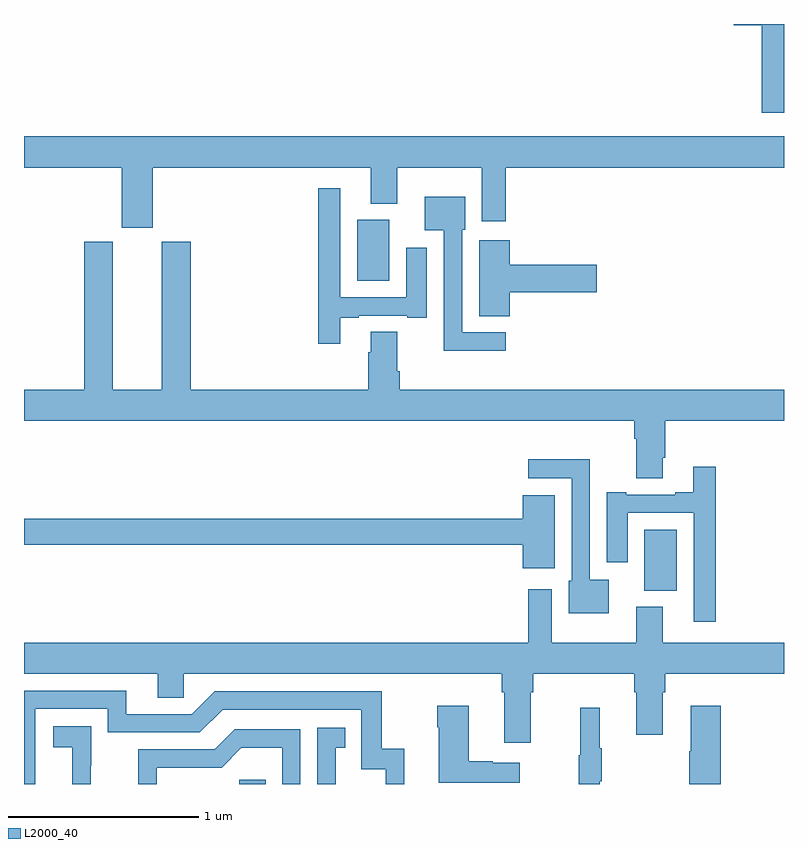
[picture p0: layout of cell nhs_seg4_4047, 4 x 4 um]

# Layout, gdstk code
import gdstk
lib = gdstk.Library(unit=1e-6, precision=1e-09)
def R(c, l, rs):  # rectangles x0, y0, x1, y1
    for r in rs: c.add(gdstk.rectangle(r[:2], r[2:], *l))
def P(c, l, *ps):  # polygons
    for p in ps: c.add(gdstk.Polygon(p, *l))
L2000_40 = (2000, 40)

nhs_seg4_4047 = lib.new_cell('nhs_seg4_4047')
R(nhs_seg4_4047, L2000_40, [(326.133,802.9,326.273,802.923), (328.265,803.918,328.435,804.238), (326.753,805.55,326.923,805.87)])
P(nhs_seg4_4047, L2000_40, [(329,806.9),(328.736,806.9),(328.736,806.894),(328.884,806.894),(328.884,806.433),(329,806.433)],
  [(325.678,806.144),(326.825,806.144),(326.825,805.955),(326.965,805.955),(326.965,806.144),(327.41,806.144),(327.41,805.863),(327.536,805.863),(327.536,806.144),(329,806.144),(329,806.308),(325,806.308),(325,806.144),(325.514,806.144),(325.514,805.827),(325.678,805.827)],
  [(326.665,805.353),(326.761,805.353),(326.761,805.365),(327.017,805.365),(327.017,805.353),(327.121,805.353),(327.121,805.723),(327.011,805.723),(327.011,805.461),(326.664,805.461),(326.664,806.035),(326.548,806.035),(326.548,805.218),(326.665,805.218)],
  [(327.535,805.278),(327.306,805.278),(327.306,805.818),(327.322,805.818),(327.322,805.99),(327.11,805.99),(327.11,805.814),(327.21,805.814),(327.21,805.181),(327.535,805.181)],
  [(327.557,805.487),(328.015,805.487),(328.015,805.634),(327.557,805.634),(327.557,805.762),(327.395,805.762),(327.395,805.363),(327.557,805.363)],
  [(328.363,804.616),(328.376,804.616),(328.376,804.812),(329,804.812),(329,804.976),(326.978,804.976),(326.978,805.072),(326.965,805.072),(326.965,805.28),(326.825,805.28),(326.825,805.172),(326.813,805.172),(326.813,804.976),(325.877,804.976),(325.877,805.755),(325.724,805.755),(325.724,804.976),(325.468,804.976),(325.468,805.755),(325.316,805.755),(325.316,804.976),(325,804.976),(325,804.812),(328.211,804.812),(328.211,804.716),(328.223,804.716),(328.223,804.508),(328.363,804.508)],
  [(328.078,803.974),(327.978,803.974),(327.978,804.608),(327.654,804.608),(327.654,804.51),(327.882,804.51),(327.882,803.97),(327.866,803.97),(327.866,803.798),(328.078,803.798)],
  [(328.64,804.571),(328.523,804.571),(328.523,804.436),(328.427,804.436),(328.427,804.423),(328.171,804.423),(328.171,804.436),(328.067,804.436),(328.067,804.066),(328.177,804.066),(328.177,804.327),(328.524,804.327),(328.524,803.754),(328.64,803.754)],
  [(327.793,804.421),(327.626,804.421),(327.626,804.296),(325,804.296),(325,804.16),(327.626,804.16),(327.626,804.035),(327.793,804.035)],
  [(327.667,803.384),(327.68,803.384),(327.68,803.48),(328.211,803.48),(328.211,803.384),(328.223,803.384),(328.223,803.16),(328.363,803.16),(328.363,803.384),(328.376,803.384),(328.376,803.48),(329,803.48),(329,803.644),(328.363,803.644),(328.363,803.833),(328.223,803.833),(328.223,803.644),(327.778,803.644),(327.778,803.926),(327.653,803.926),(327.653,803.644),(325,803.644),(325,803.48),(325.703,803.48),(325.703,803.353),(325.842,803.353),(325.842,803.48),(327.515,803.48),(327.515,803.384),(327.527,803.384),(327.527,803.118),(327.667,803.118)],
  [(325.059,803.295),(325.44,803.295),(325.44,803.172),(325.926,803.172),(326.046,803.292),(326.775,803.292),(326.775,802.977),(326.904,802.977),(326.904,802.9),(327.002,802.9),(327.002,803.086),(326.884,803.086),(326.884,803.388),(326.004,803.388),(325.884,803.268),(325.537,803.268),(325.537,803.391),(325,803.391),(325,802.9),(325.059,802.9)],
  [(328.667,803.311),(328.508,803.311),(328.508,803.072),(328.501,803.072),(328.501,802.9),(328.667,802.9)],
  [(327.61,803.011),(327.467,803.011),(327.467,803.021),(327.34,803.021),(327.34,803.311),(327.175,803.311),(327.175,803.198),(327.182,803.198),(327.182,802.907),(327.61,802.907)],
  [(328.031,802.915),(328.042,802.915),(328.042,803.089),(328.031,803.089),(328.031,803.302),(327.928,803.302),(327.928,803.052),(327.921,803.052),(327.921,802.9),(328.031,802.9)],
  [(325.352,802.997),(325.353,802.997),(325.353,803.203),(325.155,803.203),(325.155,803.093),(325.253,803.093),(325.253,802.9),(325.352,802.9)],
  [(326.641,803.091),(326.69,803.091),(326.69,803.197),(326.544,803.197),(326.544,802.9),(326.641,802.9)],
  [(325.698,802.986),(326.04,802.986),(326.144,803.09),(326.358,803.09),(326.358,802.9),(326.454,802.9),(326.454,803.187),(326.108,803.187),(326.003,803.082),(325.6,803.082),(325.6,802.9),(325.698,802.9)])

lib.write_gds('nhs_seg4_4047.gds')
